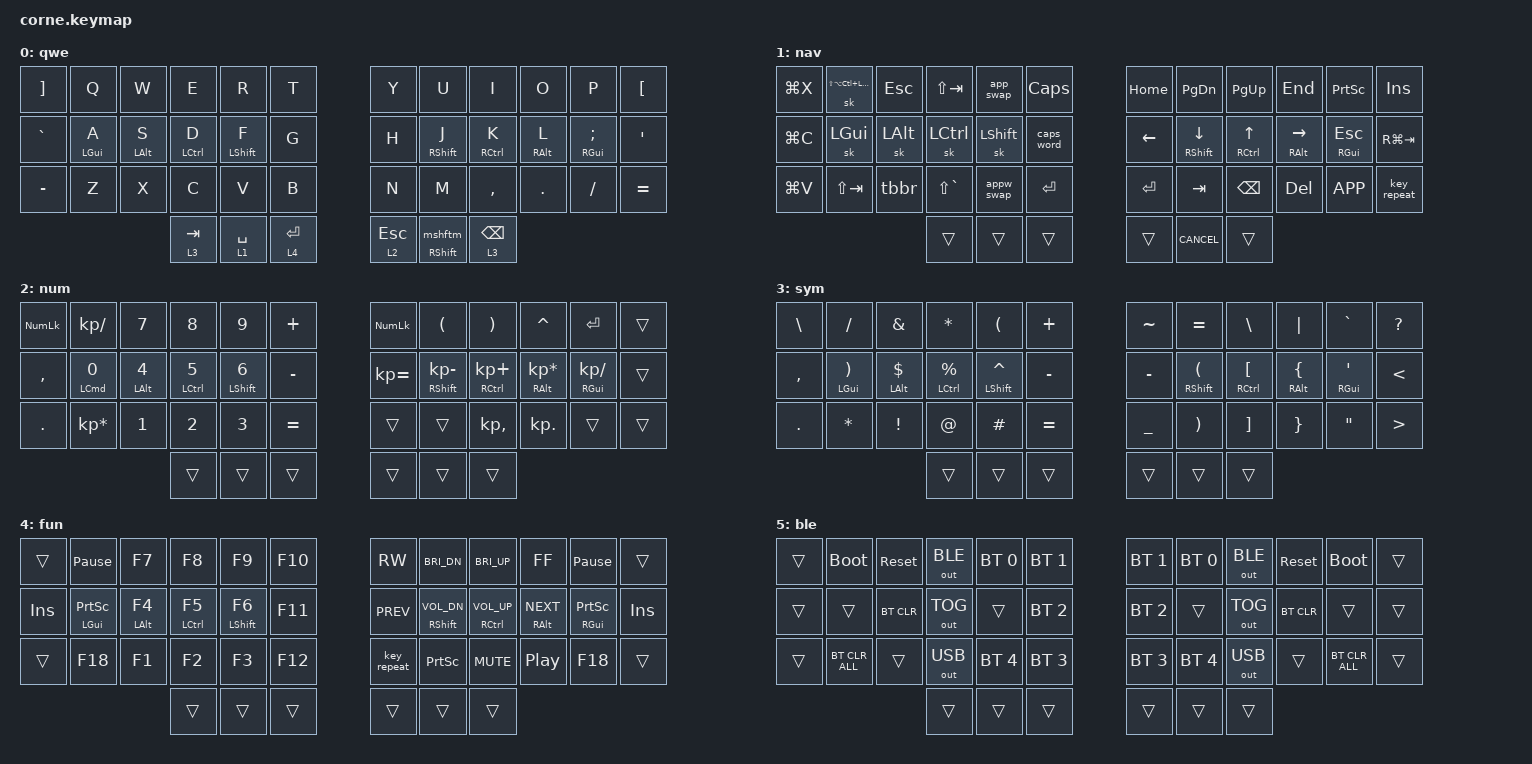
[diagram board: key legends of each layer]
/*
 * Copyright (c) 2024 The ZMK Contributors
 *
 * SPDX-License-Identifier: MIT
 */

#include <behaviors.dtsi>
#include <dt-bindings/zmk/bt.h>
#include <dt-bindings/zmk/keys.h>
#include <dt-bindings/zmk/outputs.h>

#define TTMS       200
#define QTMS       175
#define RPIDMS     175
#define CH_RPI_MS  150
#define CV_RPI_MS  50

#define RHYPER  RS(RA(RC(RGUI)))
#define LHYPER  LS(LA(LC(LGUI)))
#define MSHFT &mshft RSHFT 0
#define LNG F18

#define _COPY  LG(C)
#define _PASTE LG(V)
#define _CUT   LG(X)
#define _UNDO  LG(Z)

&lt {
    tapping-term-ms = <TTMS>;
    quick-tap-ms = <QTMS>;
};

&sk {
    release-after-ms = <900>;
    quick-release;
};

/ {
    behaviors {
        hrml: hrml {
            compatible = "zmk,behavior-hold-tap";
            #binding-cells = <2>;
            bindings = <&kp>, <&kp>;

            flavor = "tap-preferred";
            tapping-term-ms = <TTMS>;
            quick-tap-ms = <QTMS>;
            require-prior-idle-ms = <RPIDMS>;
            hold-trigger-on-release;
            hold-trigger-key-positions = <6 7 8 9 10 11 18 19 20 21 22 23 30 31 32 33 34 35 39 40 41>;
        };

        hrmr: hrmr {
            compatible = "zmk,behavior-hold-tap";
            #binding-cells = <2>;
            bindings = <&kp>, <&kp>;

            flavor = "tap-preferred";
            tapping-term-ms = <TTMS>;
            quick-tap-ms = <QTMS>;
            require-prior-idle-ms = <RPIDMS>;
            hold-trigger-on-release;
            hold-trigger-key-positions = <0 1 2 3 4 5 12 13 14 15 16 17 24 25 26 27 28 29 36 37 38>;
        };

        mshftm: magic_shift_morph {
            compatible = "zmk,behavior-mod-morph";
            #binding-cells = <0>;
            bindings = <&sk RSHFT>, <&caps_word>;
            mods = <(MOD_RSFT)>;
        };

        mshft: magic_shift {
            compatible = "zmk,behavior-hold-tap";
            #binding-cells = <2>;
            bindings = <&kp>, <&mshftm>;

            flavor = "balanced";
            tapping-term-ms = <200>;
            quick-tap-ms = <160>;
            require-prior-idle-ms = <RPIDMS>;
        };
    };

    app_swap: app_swapper {
        compatible = "zmk,behavior-tri-state";
        #binding-cells = <0>;
        bindings = <&kt LGUI>, <&kp TAB>, <&kt LGUI>;

        ignored-key-positions = <3 19 20 21 22>;
    };

    appw_swap: app_win_swapper {
        compatible = "zmk,behavior-tri-state";
        #binding-cells = <0>;
        bindings = <&kt LGUI>, <&kp GRAVE>, <&kt LGUI>;

        ignored-key-positions = <27 19 20 21 22>;
    };

    tbbr: tabber {
        compatible = "zmk,behavior-tri-state";
        #binding-cells = <0>;
        bindings = <&kt LCTRL>, <&kp TAB>, <&kt LCTRL>;

        ignored-key-positions = <3 25 27>;
    };

    combos {
        compatible = "zmk,combos";

        rlng {
            bindings = <&kp LNG>;
            key-positions = <14 15>;
            timeout-ms = <24>;
            require-prior-idle-ms = <CH_RPI_MS>;
        };

        llng {
            bindings = <&kp LNG>;
            key-positions = <20 21>;
            timeout-ms = <24>;
            require-prior-idle-ms = <CH_RPI_MS>;
        };

        ldlng {
            bindings = <&kp LNG>;
            key-positions = <15 37>;
            timeout-ms = <24>;
            require-prior-idle-ms = <CV_RPI_MS>;
        };

        rdlng {
            bindings = <&kp LNG>;
            key-positions = <20 40>;
            timeout-ms = <24>;
            require-prior-idle-ms = <CV_RPI_MS>;
        };

        rbslh {
            bindings = <&kp BSLH>;
            key-positions = <15 16>;
            timeout-ms = <24>;
            require-prior-idle-ms = <CH_RPI_MS>;
        };

        lbslh {
            bindings = <&kp BSLH>;
            key-positions = <19 20>;
            timeout-ms = <24>;
            require-prior-idle-ms = <CH_RPI_MS>;
        };

        lhyper {
            bindings = <&sk LHYPER>;\
            key-positions = <15 17>;
            timeout-ms = <30>;
            require-prior-idle-ms = <CH_RPI_MS>;
        };

        rhyper {
            bindings = <&sk RHYPER>;
            key-positions = <18 20>;
            timeout-ms = <30>;
            require-prior-idle-ms = <CH_RPI_MS>;
        };

        ldhyper {
            bindings = <&sk LHYPER>;
            key-positions = <15 28>;
            timeout-ms = <30>;
            require-prior-idle-ms = <CV_RPI_MS>;
        };

        rdhyper {
            bindings = <&sk RHYPER>;
            key-positions = <20 31>;
            timeout-ms = <30>;
            require-prior-idle-ms = <CV_RPI_MS>;
        };

        lthyper {
            bindings = <&sk LHYPER>;
            key-positions = <16 37>;
            timeout-ms = <24>;
            require-prior-idle-ms = <CV_RPI_MS>;
        };

        rthyper {
            bindings = <&sk RHYPER>;
            key-positions = <19 40>;
            timeout-ms = <24>;
            require-prior-idle-ms = <CV_RPI_MS>;
        };

        lcopy {
            bindings = <&kp _COPY>;
            key-positions = <37 27>;
            timeout-ms = <24>;
            require-prior-idle-ms = <CV_RPI_MS>;
        };

        lpaste {
            bindings = <&kp _PASTE>;
            key-positions = <37 28>;
            timeout-ms = <24>;
            require-prior-idle-ms = <CV_RPI_MS>;
        };

        lcut {
            bindings = <&kp _CUT>;
            key-positions = <37 26>;
            timeout-ms = <24>;
            require-prior-idle-ms = <CV_RPI_MS>;
        };

        lundo {
            bindings = <&kp _UNDO>;
            key-positions = <37 25>;
            timeout-ms = <24>;
            require-prior-idle-ms = <CV_RPI_MS>;
        };

        rcopy {
            bindings = <&kp _COPY>;
            key-positions = <40 32>;
            timeout-ms = <24>;
            require-prior-idle-ms = <CV_RPI_MS>;
        };

        rpaste {
            bindings = <&kp _PASTE>;
            key-positions = <40 31>;
            timeout-ms = <24>;
            require-prior-idle-ms = <CV_RPI_MS>;
        };

        rcut {
            bindings = <&kp _CUT>;
            key-positions = <40 33>;
            timeout-ms = <24>;
            require-prior-idle-ms = <CV_RPI_MS>;
        };

        rundo {
            bindings = <&kp _UNDO>;
            key-positions = <40 34>;
            timeout-ms = <24>;
            require-prior-idle-ms = <CV_RPI_MS>;
        };
    };

    keymap {
        compatible = "zmk,keymap";

        qwe {
            bindings = <
&kp RBKT   &kp Q         &kp W         &kp E          &kp R          &kp T                                      &kp Y     &kp U          &kp I          &kp O         &kp P            &kp LBKT
&kp GRAVE  &hrml LGUI A  &hrml LALT S  &hrml LCTRL D  &hrml LSHFT F  &kp G                                      &kp H     &hrmr RSHFT J  &hrmr RCTRL K  &hrmr RALT L  &hrmr RGUI SEMI  &kp APOS
&kp MINUS  &kp Z         &kp X         &kp C          &kp V          &kp B                                      &kp N     &kp M          &kp COMMA      &kp DOT       &kp FSLH         &kp EQUAL
                                                      &lt 3 TAB      &lt 1 SPACE    &lt 4 ENTER     &lt 2 ESC   MSHFT     &lt 3 BSPC
            >;
        };

        nav {
            bindings = <
&kp _CUT   &sk LHYPER   &kp ESC     &kp LS(TAB)    &app_swap  &kp CAPS                              &kp HOME     &kp PG_DN          &kp PG_UP       &kp END           &kp PSCRN       &kp INS
&kp _COPY  &sk LGUI     &sk LALT    &sk LCTRL      &sk LSHFT  &caps_word                            &kp LEFT     &hrmr RSHIFT DOWN  &hrmr RCTRL UP  &hrmr RALT RIGHT  &hrmr RGUI ESC  &kp RG(TAB)
&kp _PASTE &kp LS(TAB)  &tbbr       &kp LS(GRAVE)  &appw_swap &kp ENTER                             &kp ENTER    &kp TAB            &kp BSPC        &kp DEL           &kp K_APP       &key_repeat
                                                   &trans     &trans       &trans       &trans      &kp K_CANCEL &trans
            >;
        };

        num {
            bindings = <
&kp KP_NUMLOCK  &kp KP_DIVIDE     &kp N7             &kp N8          &kp N9          &kp PLUS                              &kp KP_NUMLOCK  &kp LPAR              &kp RPAR              &kp CARET               &kp ENTER              &trans
&kp COMMA       &hrml LCMD N0     &hrml LEFT_ALT N4  &hrml LCTRL N5  &hrml LSHFT N6  &kp MINUS                             &kp KP_EQUAL    &hrmr RSHFT KP_MINUS  &hrmr RCTRL KP_PLUS   &hrmr RALT KP_MULTIPLY  &hrmr RGUI KP_DIVIDE   &trans
&kp DOT         &kp KP_ASTERISK   &kp N1             &kp N2          &kp N3          &kp EQUAL                             &trans          &trans                &kp KP_COMMA          &kp KP_DOT              &trans                 &trans
                                                                     &trans          &trans        &trans      &trans      &trans          &trans
            >;
        };

        sym {
            bindings = <
&kp BSLH   &kp FSLH          &kp AMPS         &kp STAR           &kp LPAR           &kp PLUS                            &kp TILDE  &kp EQUAL          &kp BSLH          &kp PIPE         &kp GRAVE       &kp QMARK
&kp COMMA  &hrml LGUI RPAR   &hrml LALT DLLR  &hrml LCTRL PRCNT  &hrml LSHFT CARET  &kp MINUS                           &kp MINUS  &hrmr RSHIFT LPAR  &hrmr RCTRL LBKT  &hrmr RALT LBRC  &hrmr RGUI SQT  &kp LT
&kp DOT    &kp ASTRK         &kp EXCL         &kp AT             &kp HASH           &kp EQUAL                           &kp UNDER  &kp RPAR           &kp RBKT          &kp RBRC         &kp DQT         &kp GT
                                                                 &trans             &trans       &trans      &trans     &trans     &trans
            >;
        };

        fun {
            bindings = <
&trans    &kp PAUSE_BREAK   &kp F7         &kp F8          &kp F9          &kp F10                        &kp C_RW      &kp C_BRI_DN           &kp C_BRI_UP          &kp C_FF           &kp PAUSE_BREAK   &trans
&kp INS   &hrml LGUI PSCRN  &hrml LALT F4  &hrml LCTRL F5  &hrml LSHFT F6  &kp F11                        &kp C_PREV    &hrmr RSHFT C_VOL_DN   &hrmr RCTRL C_VOL_UP  &hrmr RALT C_NEXT  &hrmr RGUI PSCRN  &kp INS
&trans    &kp LNG           &kp F1         &kp F2          &kp F3          &kp F12                        &key_repeat   &kp PSCRN              &kp C_MUTE            &kp C_PP           &kp LNG           &trans
                                                           &trans          &trans    &trans     &trans    &trans        &trans
            >;
        };

        ble {
            bindings = <
&trans     &bootloader     &sys_reset  &out OUT_BLE  &bt BT_SEL 0  &bt BT_SEL 1                    &bt BT_SEL 1  &bt BT_SEL 0  &out OUT_BLE  &sys_reset  &bootloader    &trans
&trans     &trans          &bt BT_CLR  &out OUT_TOG  &trans        &bt BT_SEL 2                    &bt BT_SEL 2  &trans        &out OUT_TOG  &bt BT_CLR  &trans         &trans
&trans     &bt BT_CLR_ALL  &trans      &out OUT_USB  &bt BT_SEL 4  &bt BT_SEL 3                    &bt BT_SEL 3  &bt BT_SEL 4  &out OUT_USB  &trans      &bt BT_CLR_ALL &trans
                                                     &trans        &trans        &trans    &trans  &trans        &trans
            >;
        };
    };

    conditional_layers {
        compatible = "zmk,conditional-layers";

        to_ble {
            if-layers = <2 4>;
            then-layer = <5>;
        };
    };
};
